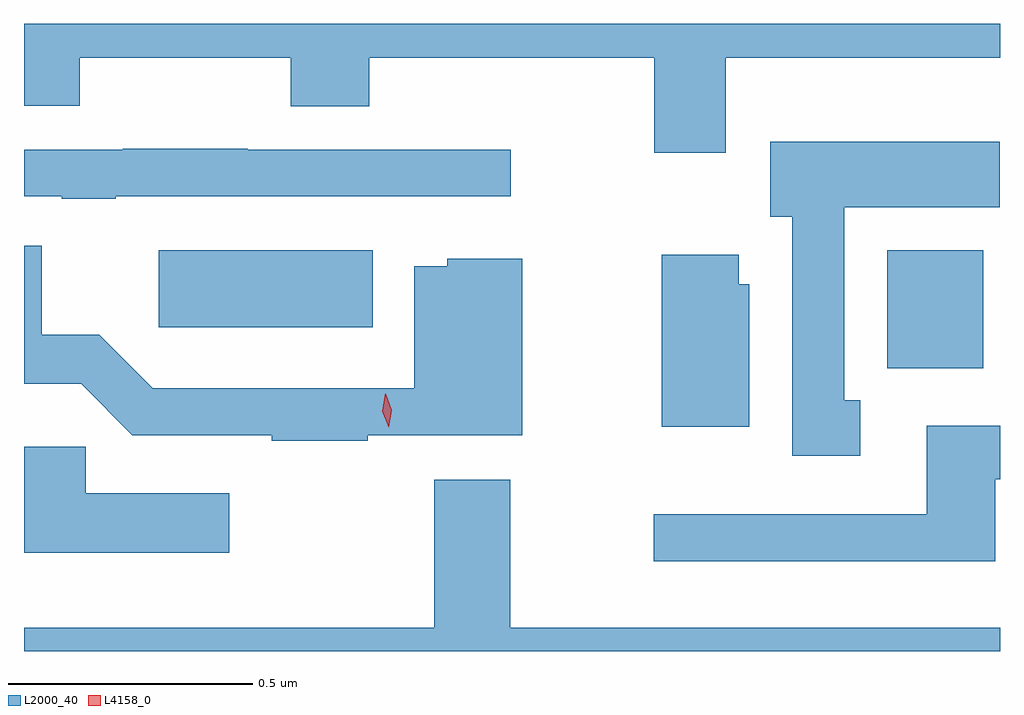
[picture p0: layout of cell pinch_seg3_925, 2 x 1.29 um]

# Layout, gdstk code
import gdstk
lib = gdstk.Library(unit=1e-6, precision=1e-09)
def R(c, l, rs):  # rectangles x0, y0, x1, y1
    for r in rs: c.add(gdstk.rectangle(r[:2], r[2:], *l))
def P(c, l, *ps):  # polygons
    for p in ps: c.add(gdstk.Polygon(p, *l))
L2000_40 = (2000, 40)
L4158_0 = (4158, 0)

pinch_seg3_925 = lib.new_cell('pinch_seg3_925')
R(pinch_seg3_925, L2000_40, [(781.19,666.98,781.387,667.222), (779.697,667.064,780.136,667.222)])
P(pinch_seg3_925, L2000_40, [(780.859,667.616),(781.421,667.616),(781.421,667.686),(779.421,667.686),(779.421,667.518),(779.535,667.518),(779.535,667.616),(779.968,667.616),(779.968,667.517),(780.128,667.517),(780.128,667.616),(780.712,667.616),(780.712,667.422),(780.859,667.422)],
  [(781.135,666.914),(781.102,666.914),(781.102,667.31),(781.42,667.31),(781.42,667.444),(780.95,667.444),(780.95,667.29),(780.995,667.29),(780.995,666.801),(781.135,666.801)],
  [(779.609,667.332),(780.418,667.332),(780.418,667.428),(779.879,667.428),(779.879,667.43),(779.623,667.43),(779.623,667.428),(779.421,667.428),(779.421,667.332),(779.498,667.332),(779.498,667.327),(779.609,667.327)],
  [(780.125,666.843),(780.442,666.843),(780.442,667.204),(780.288,667.204),(780.288,667.189),(780.221,667.189),(780.221,666.939),(779.685,666.939),(779.575,667.049),(779.457,667.049),(779.457,667.231),(779.421,667.231),(779.421,666.948),(779.538,666.948),(779.643,666.843),(779.929,666.843),(779.929,666.831),(780.125,666.831)],
  [(780.907,667.152),(780.886,667.152),(780.886,667.213),(780.728,667.213),(780.728,666.86),(780.907,666.86)],
  [(781.411,666.753),(781.421,666.753),(781.421,666.862),(781.271,666.862),(781.271,666.681),(780.711,666.681),(780.711,666.584),(781.411,666.584)],
  [(779.842,666.724),(779.548,666.724),(779.548,666.819),(779.421,666.819),(779.421,666.602),(779.842,666.602)],
  [(781.421,666.448),(780.417,666.448),(780.417,666.751),(780.262,666.751),(780.262,666.448),(779.421,666.448),(779.421,666.4),(781.421,666.4)])
P(pinch_seg3_925, L4158_0, [(780.168,666.859),(780.168,666.859),(780.155,666.892),(780.161,666.928),(780.162,666.928),(780.162,666.928),(780.175,666.894),(780.168,666.859)])

lib.write_gds('pinch_seg3_925.gds')
